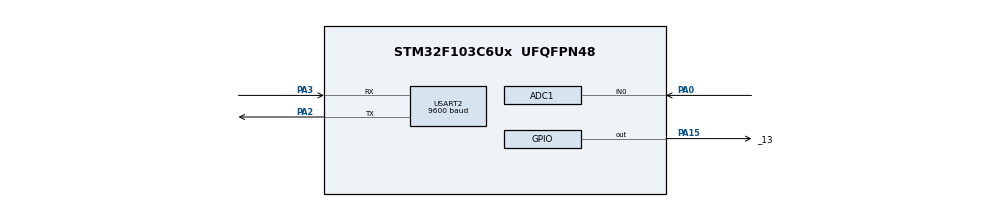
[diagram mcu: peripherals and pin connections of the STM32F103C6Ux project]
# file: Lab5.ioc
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ADC1.Channel-0\#ChannelRegularConversion=ADC_CHANNEL_0
ADC1.ContinuousConvMode=ENABLE
ADC1.NbrOfConversionFlag=1
ADC1.Rank-0\#ChannelRegularConversion=1
ADC1.SamplingTime-0\#ChannelRegularConversion=ADC_SAMPLETIME_1CYCLE_5
ADC1.master=1
Mcu.Family=STM32F1
Mcu.Name=STM32F103C6Ux
Mcu.Package=UFQFPN48
NVIC.PriorityGroup=NVIC_PRIORITYGROUP_4
NVIC.USART2_IRQn=true\:0\:0\:false\:false\:true\:true\:true\:true
PA0-WKUP.Signal=ADCx_IN0
PA15.GPIO_Label=_13
PA15.Signal=GPIO_Output
PA2.Mode=Asynchronous
PA2.Signal=USART2_TX
PA3.Mode=Asynchronous
PA3.Signal=USART2_RX
ProjectManager.HeapSize=0x200
ProjectManager.StackSize=0x400
ProjectManager.TargetToolchain=STM32CubeIDE
RCC.APB1Freq_Value=8000000
RCC.APB2Freq_Value=8000000
SH.ADCx_IN0.0=ADC1_IN0,IN0
USART2.BaudRate=9600
USART2.VirtualMode=VM_ASYNC
VP_SYS_VS_ND.Mode=No_Debug
board=custom

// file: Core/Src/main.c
/* USER CODE BEGIN Header */
/**
  ******************************************************************************
  * @file           : main.c
  * @brief          : Main program body
  ******************************************************************************
  * @attention
  *
  * Copyright (c) 2025 STMicroelectronics.
  * All rights reserved.
  *
  * This software is licensed under terms that can be found in the LICENSE file
  * in the root directory of this software component.
  * If no LICENSE file comes with this software, it is provided AS-IS.
  *
  ******************************************************************************
  */
/* USER CODE END Header */
#include "main.h"

/* USER CODE BEGIN Includes */
#include "parser.h"
#include "uart.h"
#include <stdio.h>
#include <string.h>
/* USER CODE END Includes */

/* USER CODE BEGIN PD */
#define MAX_BUFFER_SIZE 30
 uint8_t temp = 0;
 uint8_t buffer[MAX_BUFFER_SIZE];
 uint8_t index_buffer = 0;
 uint8_t buffer_flag = 0;
/* USER CODE END PD */

ADC_HandleTypeDef hadc1;

UART_HandleTypeDef huart2;

void SystemClock_Config(void);
static void MX_GPIO_Init(void);
static void MX_ADC1_Init(void);
static void MX_USART2_UART_Init(void);

/* USER CODE BEGIN 0 */

//UART receive interrupt callback
void HAL_UART_RxCpltCallback ( UART_HandleTypeDef * huart ) {
  if ( huart -> Instance == USART2 ) {
    // Echo the received character back to terminal
    HAL_UART_Transmit(&huart2, &temp, 1, 10);

    // Handle special characters for better terminal display
    if (temp == '\r') {
      // Add line feed after carriage return for proper newline
      uint8_t lf = '\n';
      HAL_UART_Transmit(&huart2, &lf, 1, 10);
    } else if (temp == '#') {
      // Add newline after # to separate command from response
      uint8_t newline[] = "\r\n";
      HAL_UART_Transmit(&huart2, newline, 2, 10);
    }

    // Add received character to buffer
    buffer[index_buffer++] = temp;
    if (index_buffer >= MAX_BUFFER_SIZE) {
      index_buffer = 0;  // Wrap around if buffer is full
    }

    // Set flag to indicate new data available
    buffer_flag = 1;

    // Re-enable interrupt for next character
    HAL_UART_Receive_IT(&huart2, &temp, 1);
  }
}
/* USER CODE END 0 */

int main(void)
{

  /* MCU Configuration--------------------------------------------------------*/

  /* Reset of all peripherals, Initializes the Flash interface and the Systick. */
  HAL_Init();

  /* Configure the system clock */
  SystemClock_Config();

  /* Initialize all configured peripherals */
  MX_GPIO_Init();
  MX_ADC1_Init();
  MX_USART2_UART_Init();
  /* USER CODE BEGIN 2 */

  // Initialize parser and UART communication FSM
  parser_init();
  uart_comm_init();

  // Start ADC in continuous mode
  HAL_ADC_Start(&hadc1);

  // Enable UART receive interrupt
  HAL_UART_Receive_IT(&huart2, &temp, 1);

  /* USER CODE END 2 */
  uint32_t ADC_value = 0;
  uint32_t led_last_toggle = 0;  // Timestamp for LED toggle
  const uint32_t LED_TOGGLE_INTERVAL = 500;  // 500ms interval

  /* Infinite loop */
  while (1)
  {

    // Toggle LED every 500ms
    if (HAL_GetTick() - led_last_toggle >= LED_TOGGLE_INTERVAL) {
      HAL_GPIO_TogglePin(_13_GPIO_Port, _13_Pin);
      led_last_toggle = HAL_GetTick();
    }

    // Read ADC value continuously
    ADC_value = HAL_ADC_GetValue(&hadc1);

    // Process received characters through command parser
    if (buffer_flag == 1) {
      // Process all characters in buffer
      for (uint8_t i = 0; i < index_buffer; i++) {
        command_parser_fsm(buffer[i]);
      }
      // Reset buffer
      index_buffer = 0;
      buffer_flag = 0;
    }

    // Check for invalid command error
    if (is_command_error()) {
      // Send error message to terminal
      const char* error_msg = "[ERR] Invalid command!\r\n";
      HAL_UART_Transmit(&huart2, (uint8_t*)error_msg, strlen(error_msg), 100);
      clear_command_error();
    }

    // Run UART communication FSM
    uart_communication_fsm(&huart2, ADC_value);

    // Small delay to prevent busy-waiting
    HAL_Delay(10);

  }
}

void SystemClock_Config(void)
{
  RCC_OscInitTypeDef RCC_OscInitStruct = {0};
  RCC_ClkInitTypeDef RCC_ClkInitStruct = {0};
  RCC_PeriphCLKInitTypeDef PeriphClkInit = {0};

  /** Initializes the RCC Oscillators according to the specified parameters
  * in the RCC_OscInitTypeDef structure.
  */
  RCC_OscInitStruct.OscillatorType = RCC_OSCILLATORTYPE_HSI;
  RCC_OscInitStruct.HSIState = RCC_HSI_ON;
  RCC_OscInitStruct.HSICalibrationValue = RCC_HSICALIBRATION_DEFAULT;
  RCC_OscInitStruct.PLL.PLLState = RCC_PLL_NONE;
  if (HAL_RCC_OscConfig(&RCC_OscInitStruct) != HAL_OK)
  {
    Error_Handler();
  }

  /** Initializes the CPU, AHB and APB buses clocks
  */
  RCC_ClkInitStruct.ClockType = RCC_CLOCKTYPE_HCLK|RCC_CLOCKTYPE_SYSCLK
                              |RCC_CLOCKTYPE_PCLK1|RCC_CLOCKTYPE_PCLK2;
  RCC_ClkInitStruct.SYSCLKSource = RCC_SYSCLKSOURCE_HSI;
  RCC_ClkInitStruct.AHBCLKDivider = RCC_SYSCLK_DIV1;
  RCC_ClkInitStruct.APB1CLKDivider = RCC_HCLK_DIV1;
  RCC_ClkInitStruct.APB2CLKDivider = RCC_HCLK_DIV1;

  if (HAL_RCC_ClockConfig(&RCC_ClkInitStruct, FLASH_LATENCY_0) != HAL_OK)
  {
    Error_Handler();
  }
  PeriphClkInit.PeriphClockSelection = RCC_PERIPHCLK_ADC;
  PeriphClkInit.AdcClockSelection = RCC_ADCPCLK2_DIV2;
  if (HAL_RCCEx_PeriphCLKConfig(&PeriphClkInit) != HAL_OK)
  {
    Error_Handler();
  }
}

static void MX_ADC1_Init(void)
{

  ADC_ChannelConfTypeDef sConfig = {0};

  /** Common config
  */
  hadc1.Instance = ADC1;
  hadc1.Init.ScanConvMode = ADC_SCAN_DISABLE;
  hadc1.Init.ContinuousConvMode = ENABLE;
  hadc1.Init.DiscontinuousConvMode = DISABLE;
  hadc1.Init.ExternalTrigConv = ADC_SOFTWARE_START;
  hadc1.Init.DataAlign = ADC_DATAALIGN_RIGHT;
  hadc1.Init.NbrOfConversion = 1;
  if (HAL_ADC_Init(&hadc1) != HAL_OK)
  {
    Error_Handler();
  }

  /** Configure Regular Channel
  */
  sConfig.Channel = ADC_CHANNEL_0;
  sConfig.Rank = ADC_REGULAR_RANK_1;
  sConfig.SamplingTime = ADC_SAMPLETIME_1CYCLE_5;
  if (HAL_ADC_ConfigChannel(&hadc1, &sConfig) != HAL_OK)
  {
    Error_Handler();
  }

}

static void MX_USART2_UART_Init(void)
{

  huart2.Instance = USART2;
  huart2.Init.BaudRate = 9600;
  huart2.Init.WordLength = UART_WORDLENGTH_8B;
  huart2.Init.StopBits = UART_STOPBITS_1;
  huart2.Init.Parity = UART_PARITY_NONE;
  huart2.Init.Mode = UART_MODE_TX_RX;
  huart2.Init.HwFlowCtl = UART_HWCONTROL_NONE;
  huart2.Init.OverSampling = UART_OVERSAMPLING_16;
  if (HAL_UART_Init(&huart2) != HAL_OK)
  {
    Error_Handler();
  }

}

static void MX_GPIO_Init(void)
{
  GPIO_InitTypeDef GPIO_InitStruct = {0};

  /* GPIO Ports Clock Enable */
  __HAL_RCC_GPIOA_CLK_ENABLE();

  /*Configure GPIO pin Output Level */
  HAL_GPIO_WritePin(_13_GPIO_Port, _13_Pin, GPIO_PIN_RESET);

  /*Configure GPIO pin : _13_Pin */
  GPIO_InitStruct.Pin = _13_Pin;
  GPIO_InitStruct.Mode = GPIO_MODE_OUTPUT_PP;
  GPIO_InitStruct.Pull = GPIO_NOPULL;
  GPIO_InitStruct.Speed = GPIO_SPEED_FREQ_LOW;
  HAL_GPIO_Init(_13_GPIO_Port, &GPIO_InitStruct);

}

void Error_Handler(void)
{
  __disable_irq();
  while (1)
  {
  }
}
